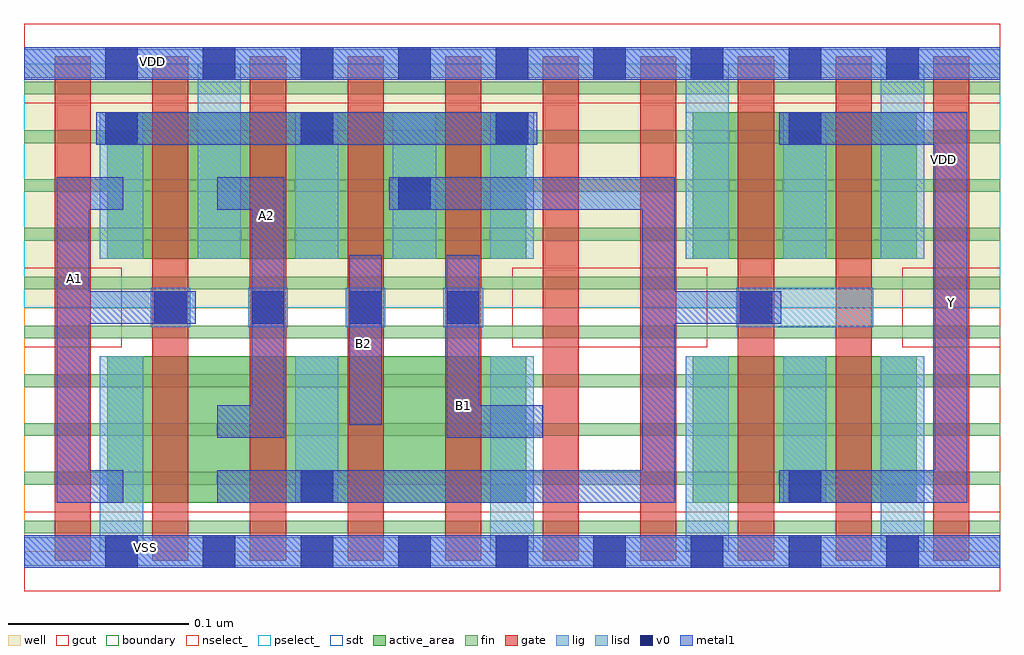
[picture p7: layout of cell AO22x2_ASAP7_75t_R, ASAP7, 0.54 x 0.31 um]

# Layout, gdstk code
import gdstk
lib = gdstk.Library(unit=1e-6, precision=1e-09)
def R(c, l, rs):  # rectangles x0, y0, x1, y1
    for r in rs: c.add(gdstk.rectangle(r[:2], r[2:], *l))
def A(c, l, x, y, w, h, nx, ny, dx, dy):  # array of equal rectangles
    R(c, l, [(x+i*dx, y+j*dy, x+i*dx+w, y+j*dy+h) for i in range(nx) for j in range(ny)])
def P(c, l, *ps):  # polygons
    for p in ps: c.add(gdstk.Polygon(p, *l))
well = (1, 0)
fin = (2, 0)
gate = (7, 0)
gcut = (10, 0)
active_area = (11, 0)
nselect_ = (12, 0)
pselect_ = (13, 0)
lig = (16, 0)
lisd = (17, 0)
v0 = (18, 0)
metal1 = (19, 0)
sdt = (88, 0)
boundary = (100, 0)

ao22x2_asap7_75t_r = lib.new_cell('AO22x2_ASAP7_75t_R')
R(ao22x2_asap7_75t_r, well, [(0,0.135,0.54,0.27)])
A(ao22x2_asap7_75t_r, fin, 0, 0.01, 0.54, 0.007, 1, 10, 0, 0.027)
A(ao22x2_asap7_75t_r, gate, 0.017, -0.005, 0.02, 0.279, 10, 1, 0.054, 0)
R(ao22x2_asap7_75t_r, gcut, [(0,-0.022,0.54,0.022), (0,0.113,0.054,0.157), (0.27,0.113,0.378,0.157), (0.486,0.113,0.54,0.157), (0,0.248,0.54,0.292)])
R(ao22x2_asap7_75t_r, active_area, [(0.046,0.027,0.278,0.108), (0.37,0.027,0.494,0.108), (0.046,0.162,0.278,0.243), (0.37,0.162,0.494,0.243)])
R(ao22x2_asap7_75t_r, nselect_, [(0,0,0.54,0.135)])
R(ao22x2_asap7_75t_r, pselect_, [(0,0.135,0.54,0.27)])
A(ao22x2_asap7_75t_r, lig, 0.07, 0.124, 0.022, 0.022, 4, 1, 0.054, 0)
R(ao22x2_asap7_75t_r, lig, [(0,-0.008,0.54,0.008), (0.394,0.124,0.47,0.146), (0,0.262,0.54,0.278)])
A(ao22x2_asap7_75t_r, lisd, 0.258, 0, 0.024, 0.108, 3, 1, 0.108, 0)
A(ao22x2_asap7_75t_r, lisd, 0.15, 0.162, 0.024, 0.081, 3, 1, 0.054, 0)
R(ao22x2_asap7_75t_r, lisd, [(0.042,0,0.066,0.108), (0.15,0.027,0.174,0.108), (0.42,0.027,0.444,0.108), (0.042,0.162,0.066,0.243), (0.096,0.162,0.12,0.27), (0.366,0.162,0.39,0.27), (0.42,0.162,0.444,0.243), (0.474,0.162,0.498,0.27)])
A(ao22x2_asap7_75t_r, v0, 0.045, -0.009, 0.018, 0.018, 9, 2, 0.054, 0.27)
A(ao22x2_asap7_75t_r, v0, 0.072, 0.126, 0.018, 0.018, 4, 1, 0.054, 0)
A(ao22x2_asap7_75t_r, v0, 0.045, 0.225, 0.018, 0.018, 3, 1, 0.108, 0)
R(ao22x2_asap7_75t_r, v0, [(0.153,0.027,0.171,0.045), (0.423,0.027,0.441,0.045), (0.396,0.126,0.414,0.144), (0.207,0.189,0.225,0.207), (0.423,0.225,0.441,0.243)])
R(ao22x2_asap7_75t_r, metal1, [(0,-0.009,0.54,0.009), (0.18,0.07,0.198,0.164), (0.04,0.225,0.284,0.243), (0,0.261,0.54,0.279)])
P(ao22x2_asap7_75t_r, metal1, [(0.107,0.063),(0.107,0.081),(0.126,0.081),(0.126,0.189),(0.107,0.189),(0.107,0.207),(0.144,0.207),(0.144,0.063)],
  [(0.234,0.063),(0.234,0.164),(0.252,0.164),(0.252,0.081),(0.287,0.081),(0.287,0.063)],
  [(0.107,0.027),(0.107,0.045),(0.342,0.045),(0.342,0.189),(0.202,0.189),(0.202,0.207),(0.36,0.207),(0.36,0.144),(0.419,0.144),(0.419,0.126),(0.36,0.126),(0.36,0.027)],
  [(0.418,0.027),(0.418,0.045),(0.504,0.045),(0.504,0.225),(0.418,0.225),(0.418,0.243),(0.522,0.243),(0.522,0.027)],
  [(0.018,0.027),(0.018,0.207),(0.055,0.207),(0.055,0.189),(0.036,0.189),(0.036,0.144),(0.095,0.144),(0.095,0.126),(0.036,0.126),(0.036,0.045),(0.055,0.045),(0.055,0.027)])
A(ao22x2_asap7_75t_r, sdt, 0.042, 0.027, 0.024, 0.081, 4, 1, 0.108, 0)
A(ao22x2_asap7_75t_r, sdt, 0.042, 0.162, 0.024, 0.081, 5, 1, 0.054, 0)
A(ao22x2_asap7_75t_r, sdt, 0.366, 0.162, 0.024, 0.081, 3, 1, 0.054, 0)
R(ao22x2_asap7_75t_r, sdt, [(0.42,0.027,0.444,0.108), (0.474,0.027,0.498,0.108)])
R(ao22x2_asap7_75t_r, boundary, [(0,0,0.54,0.27)])
ao22x2_asap7_75t_r.add(gdstk.Label('A1', (0.028,0.151), layer=19, texttype=251))
ao22x2_asap7_75t_r.add(gdstk.Label('A2', (0.134,0.186), layer=19, texttype=251))
ao22x2_asap7_75t_r.add(gdstk.Label('VDD', (0.071,0.271), layer=19, texttype=251))
ao22x2_asap7_75t_r.add(gdstk.Label('B2', (0.188,0.115), layer=19, texttype=251))
ao22x2_asap7_75t_r.add(gdstk.Label('Y', (0.513,0.138), layer=19, texttype=251))
ao22x2_asap7_75t_r.add(gdstk.Label('B1', (0.243,0.081), layer=19, texttype=251))
ao22x2_asap7_75t_r.add(gdstk.Label('VSS', (0.067,0.002), layer=19, texttype=251))
ao22x2_asap7_75t_r.add(gdstk.Label('VDD', (0.509,0.217), layer=1, texttype=251))
ao22x2_asap7_75t_r.add(gdstk.Label('VSS', (0.578,0.216), layer=3, texttype=251))

lib.write_gds('AO22x2_ASAP7_75t_R.gds')
